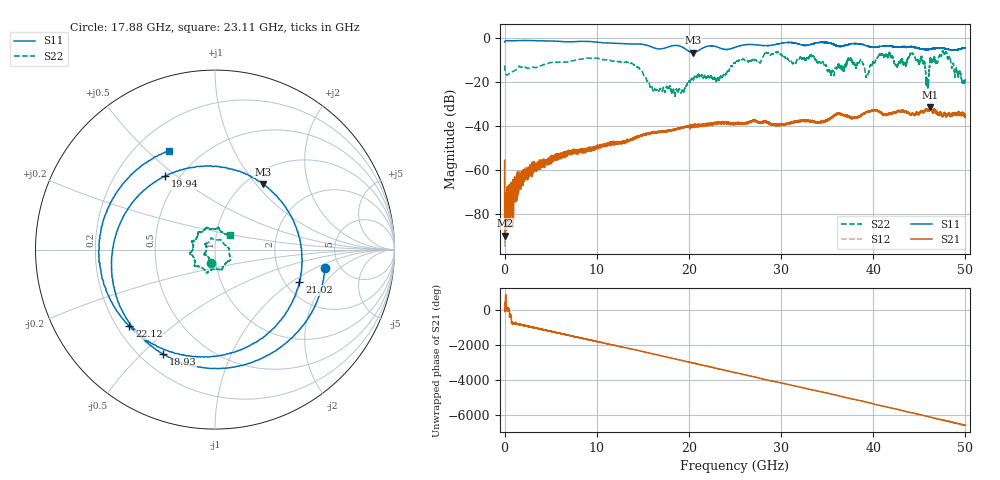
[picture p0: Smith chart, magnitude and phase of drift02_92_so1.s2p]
!Created with skrf (http://scikit-rf.org).
# Hz S RI R 50.0
!freq ReS11 ImS11 ReS21 ImS21 ReS12 ImS12 ReS22 ImS22
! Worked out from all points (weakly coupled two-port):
!   10001 points, 300 kHz to 50 GHz, reference 50 ohm
!   highest |S21| = -31.61 dB at 46.17 GHz (marker M1); lowest = -89.8 dB at 75.3 MHz (marker M2)
!   lowest |S11| = -6.9 dB at 20.44 GHz (marker M3), VSWR 2.65, Z = 59.1 + j54.3 ohm
!   |S11| at or under -10 dB: nowhere
!   |S22| runs from -26.7 to -6.0 dB; largest |S21 - S12| = 0.003
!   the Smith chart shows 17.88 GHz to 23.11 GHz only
!   S11 on the Smith chart (normalised r, x): 17.88 GHz: 3.82, -1.29; 18.93 GHz: 0.29, -0.58; 19.94 GHz: 0.42, +0.45; 21.02 GHz: 2.39, -1.15; 22.12 GHz: 0.25, -0.36; 23.11 GHz: 0.34, +0.59
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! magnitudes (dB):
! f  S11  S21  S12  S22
! 300 kHz  -2.1  -55.7  -64.7  -12.7
! 75.3 MHz  -1.5  -89.8  -80.0  -15.7
! 255.3 MHz  -1.4  -79.3  -73.5  -17.0
! 2.955 GHz  -1.4  -59.9  -59.5  -13.6
! 8.335 GHz  -1.7  -51.8  -51.0  -9.7
! 13.71 GHz  -3.0  -46.3  -46.1  -11.7
! 16.67 GHz  -5.2  -43.1  -42.9  -23.8
! 17.88 GHz  -4.1  -42.3  -42.1  -22.4
! 18.93 GHz  -3.7  -41.2  -41.3  -23.3
! 19.94 GHz  -6.1  -40.3  -40.3  -19.8
! 20.44 GHz  -6.9  -40.4  -40.0  -19.2
! 21.02 GHz  -6.0  -40.0  -39.9  -16.8
! 22.12 GHz  -3.9  -39.3  -39.6  -17.5
! 23.11 GHz  -4.3  -38.6  -38.9  -18.5
! 25 GHz  -4.5  -38.7  -38.9  -11.6
! 33.34 GHz  -3.0  -38.0  -37.9  -8.3
! 39.33 GHz  -3.8  -33.9  -33.6  -16.5
! 41.67 GHz  -3.9  -34.7  -34.7  -7.7
! 45.86 GHz  -5.5  -33.2  -33.1  -19.6
! 46.17 GHz  -5.3  -31.6  -31.6  -10.8
! 47.74 GHz  -5.0  -34.9  -34.5  -7.4
! 50 GHz  -4.7  -35.6  -35.8  -18.7
